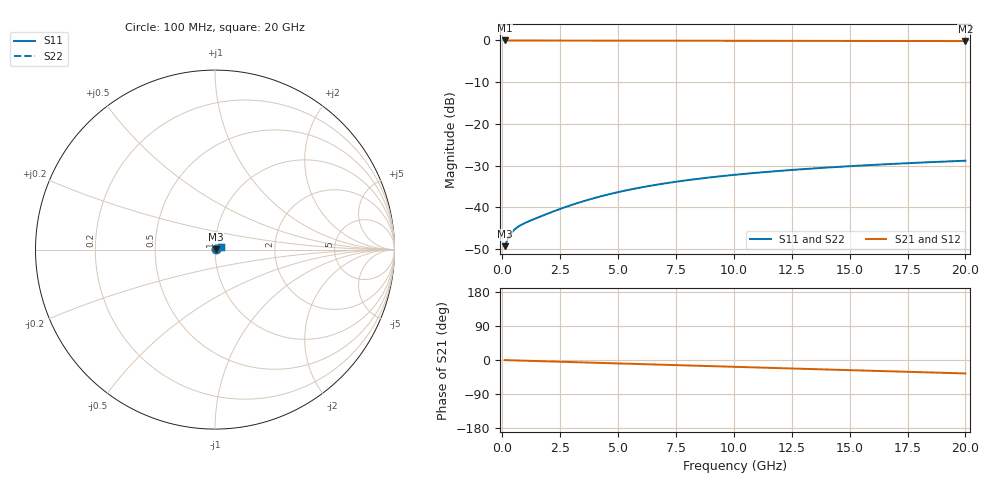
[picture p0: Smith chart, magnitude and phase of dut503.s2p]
! Touchstone file exported from HFSS 2026.1.0
!  File:  C:/ffzhzh/LocalFiles/Ansys_Project_Files/temp_train_BSMRDL_503_1783014251_51716.aedt
!  Generated:  01:45:25 AM Jul  3, 2026
!  Design:  BSMRDL
!  Project:  temp_train_BSMRDL_503_1783014251_51716
! Variables:
!  h_bsmrdl = 3.47um
!  h_ox = 20um
!  h_rdl = 5um
!  h_sub = 80um
!  h_tmrdl = 5um
!  h_tsv = 80um
!  h_via = 3um
!  l_bsmrdl = 631.84um
!  l_sub = 1031.84um
!  l_tmrdl = 200um
!  m_sub = 200um
!  pitch = 25.64um
!  r_tsv = 6um
!  s_tmrdl = 10um
!  w_bsmrdl = 21.06um
!  w_sub = 500um
!  w_tmrdl = 12um
!  x_tsv_center1 = 206um
!  x_tsv_center2 = 858.9um
!  x_tsv_center3 = 1070.9um
!  x_tsv_center4 = 1723.8um
!  x_tsv_center5 = 1935.8um
!  x_tsv_center6 = 2588.7um
# GHz S MA R 50.000000
! Terminal data exported
! Port[1] = BSM_RDL1_1_T1
! Port[2] = BSM_RDL1_1_T2
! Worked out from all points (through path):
!   200 points, 100 MHz to 20 GHz, reference 50 ohm
!   highest |S21| = -0.03 dB at 100 MHz (marker M1); lowest = -0.2 dB at 20 GHz (marker M2)
!   group delay of S21, straight-line fit = 4.91 ps
!   lowest |S11| = -49.3 dB at 100 MHz (marker M3), VSWR 1.01, Z = 50.3 + j0.0814 ohm
!   |S11| at or under -10 dB: start of sweep to end of sweep
!   |S22| runs from -49.3 to -28.9 dB; largest |S21 - S12| = 2.5e-15
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0.1  0.003423 13.7  0.9967 -0.2  0.9967 -0.2  0.003423 13.7
! Gamma 0 0 0 0
! Port Impedance 50 0 50 0
0.2  0.003934 22.0  0.9964 -0.4  0.9964 -0.4  0.003935 21.9
0.3  0.004478 25.8  0.996 -0.6  0.996 -0.6  0.004477 25.7
0.4  0.004945 27.5  0.9956 -0.8  0.9956 -0.8  0.004941 27.3
0.5  0.005324 28.4  0.9954 -1.0  0.9954 -1.0  0.005315 28.2
0.6  0.005632 29.0  0.9951 -1.2  0.9951 -1.2  0.00562 28.9
0.8  0.006119 30.5  0.9948 -1.5  0.9948 -1.5  0.006102 30.4
1.2  0.006905 34.1  0.9945 -2.2  0.9945 -2.2  0.006883 34.0
2.1  0.008695 41.5  0.9939 -3.9  0.9939 -3.9  0.008676 41.5
2.8  0.01023 45.0  0.9934 -5.2  0.9934 -5.2  0.01022 45.0
3.5  0.01182 46.9  0.9929 -6.4  0.9929 -6.4  0.01181 47.0
4.2  0.01341 47.7  0.9923 -7.7  0.9923 -7.7  0.0134 47.8
5  0.01519 47.7  0.9916 -9.1  0.9916 -9.1  0.01518 47.8
5.9  0.01711 47.0  0.9907 -10.7  0.9907 -10.7  0.0171 47.1
6.8  0.01891 45.9  0.9899 -12.3  0.9899 -12.3  0.0189 46.0
8.3  0.02167 43.6  0.9884 -15.0  0.9884 -15.0  0.02165 43.7
10.1  0.02461 40.5  0.9868 -18.2  0.9868 -18.2  0.02458 40.7
11.7  0.02693 37.8  0.9855 -21.0  0.9855 -21.0  0.02689 38.0
13.4  0.02916 34.9  0.9843 -24.0  0.9843 -24.0  0.0291 35.1
15  0.03108 32.2  0.9832 -26.8  0.9832 -26.8  0.031 32.5
16.7  0.03294 29.5  0.9821 -29.7  0.9821 -29.7  0.03286 29.8
20  0.03615 24.2  0.9802 -35.5  0.9802 -35.5  0.03603 24.6
